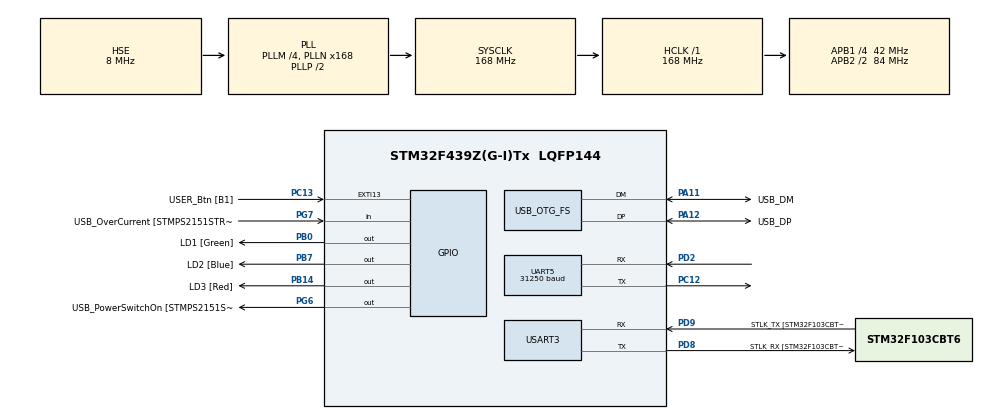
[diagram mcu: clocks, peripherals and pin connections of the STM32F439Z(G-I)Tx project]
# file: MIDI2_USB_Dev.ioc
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Dma.Request0=UART5_RX
Dma.UART5_RX.0.Direction=DMA_PERIPH_TO_MEMORY
Dma.UART5_RX.0.FIFOMode=DMA_FIFOMODE_DISABLE
Dma.UART5_RX.0.Instance=DMA1_Stream0
Dma.UART5_RX.0.MemDataAlignment=DMA_MDATAALIGN_BYTE
Dma.UART5_RX.0.MemInc=DMA_MINC_ENABLE
Dma.UART5_RX.0.Mode=DMA_CIRCULAR
Dma.UART5_RX.0.PeriphDataAlignment=DMA_PDATAALIGN_BYTE
Dma.UART5_RX.0.PeriphInc=DMA_PINC_DISABLE
Dma.UART5_RX.0.Priority=DMA_PRIORITY_LOW
Mcu.Family=STM32F4
Mcu.Name=STM32F439Z(G-I)Tx
Mcu.Package=LQFP144
NVIC.DMA1_Stream0_IRQn=true\:0\:0\:false\:false\:true\:false\:true\:true
NVIC.OTG_FS_IRQn=true\:0\:0\:false\:false\:true\:true\:true\:true
NVIC.PriorityGroup=NVIC_PRIORITYGROUP_4
NVIC.TIM1_TRG_COM_TIM11_IRQn=true\:1\:0\:true\:false\:true\:true\:true\:true
NVIC.TIM1_UP_TIM10_IRQn=true\:2\:0\:true\:false\:true\:true\:true\:true
NVIC.UART5_IRQn=true\:0\:0\:false\:false\:true\:true\:true\:true
PA1.GPIO_Label=RMII_REF_CLK [LAN8742A-CZ-TR_REFCLK0]
PA1.Signal=ETH_REF_CLK
PA10.GPIO_Label=USB_ID
PA10.Signal=USB_OTG_FS_ID
PA11.GPIO_Label=USB_DM
PA11.Mode=Device_Only
PA11.Signal=USB_OTG_FS_DM
PA12.GPIO_Label=USB_DP
PA12.Mode=Device_Only
PA12.Signal=USB_OTG_FS_DP
PA13.GPIO_Label=TMS
PA13.Mode=Serial_Wire
PA13.Signal=SYS_JTMS-SWDIO
PA14.GPIO_Label=TCK
PA14.Mode=Serial_Wire
PA14.Signal=SYS_JTCK-SWCLK
PA2.GPIO_Label=RMII_MDIO [LAN8742A-CZ-TR_MDIO]
PA2.Signal=ETH_MDIO
PA7.GPIO_Label=RMII_CRS_DV [LAN8742A-CZ-TR_CRS_DV]
PA7.Signal=ETH_CRS_DV
PA8.GPIO_Label=USB_SOF [TP1]
PA8.Signal=USB_OTG_FS_SOF
PA9.GPIO_Label=USB_VBUS
PA9.Signal=USB_OTG_FS_VBUS
PB0.GPIO_Label=LD1 [Green]
PB0.Signal=GPIO_Output
PB13.GPIO_Label=RMII_TXD1 [LAN8742A-CZ-TR_TXD1]
PB13.Signal=ETH_TXD1
PB14.GPIO_Label=LD3 [Red]
PB14.Signal=GPIO_Output
PB7.GPIO_Label=LD2 [Blue]
PB7.Signal=GPIO_Output
PC1.GPIO_Label=RMII_MDC [LAN8742A-CZ-TR_MDC]
PC1.Signal=ETH_MDC
PC12.Mode=Asynchronous
PC12.Signal=UART5_TX
PC13.GPIO_Label=USER_Btn [B1]
PC13.Signal=GPXTI13
PC14/OSC32_IN.Mode=LSE-External-Oscillator
PC14/OSC32_IN.Signal=RCC_OSC32_IN
PC15/OSC32_OUT.Mode=LSE-External-Oscillator
PC15/OSC32_OUT.Signal=RCC_OSC32_OUT
PC4.GPIO_Label=RMII_RXD0 [LAN8742A-CZ-TR_RXD0]
PC4.Signal=ETH_RXD0
PC5.GPIO_Label=RMII_RXD1 [LAN8742A-CZ-TR_RXD1]
PC5.Signal=ETH_RXD1
PD2.Mode=Asynchronous
PD2.Signal=UART5_RX
PD8.GPIO_Label=STLK_RX [STM32F103CBT6_PA3]
PD8.Mode=Asynchronous
PD8.Signal=USART3_TX
PD9.GPIO_Label=STLK_TX [STM32F103CBT6_PA2]
PD9.Mode=Asynchronous
PD9.Signal=USART3_RX
PG11.GPIO_Label=RMII_TX_EN [LAN8742A-CZ-TR_TXEN]
PG11.Signal=ETH_TX_EN
PG13.GPIO_Label=RMII_TXD0 [LAN8742A-CZ-TR_TXD0]
PG13.Signal=ETH_TXD0
PG6.GPIO_Label=USB_PowerSwitchOn [STMPS2151STR_EN]
PG6.Signal=GPIO_Output
PG7.GPIO_Label=USB_OverCurrent [STMPS2151STR_FAULT]
PG7.Signal=GPIO_Input
PH0/OSC_IN.GPIO_Label=MCO [STM32F103CBT6_PA8]
PH0/OSC_IN.Mode=HSE-External-Clock-Source
PH0/OSC_IN.Signal=RCC_OSC_IN
PH1/OSC_OUT.Mode=HSE-External-Clock-Source
PH1/OSC_OUT.Signal=RCC_OSC_OUT
ProjectManager.HeapSize=0x200
ProjectManager.StackSize=0x400
ProjectManager.TargetToolchain=CMake
RCC.48MHZClocksFreq_Value=48000000
RCC.AHBFreq_Value=168000000
RCC.APB1CLKDivider=RCC_HCLK_DIV4
RCC.APB1Freq_Value=42000000
RCC.APB1TimFreq_Value=84000000
RCC.APB2CLKDivider=RCC_HCLK_DIV2
RCC.APB2Freq_Value=84000000
RCC.APB2TimCLKDivider=2
RCC.APB2TimFreq_Value=168000000
RCC.CortexFreq_Value=168000000
RCC.HCLKFreq_Value=168000000
RCC.HSE_VALUE=8000000
RCC.HSI_VALUE=16000000
RCC.PLLM=4
RCC.PLLMUL=RCC_PLL_MUL9
RCC.PLLN=168
RCC.PLLQ=7
RCC.PRESCALERUSB=RCC_USBCLKSOURCE_PLL_DIV1_5
RCC.SYSCLKFreq_VALUE=168000000
RCC.SYSCLKSource=RCC_SYSCLKSOURCE_PLLCLK
RCC.SYSCLKSourceVirtual=RCC_SYSCLKSOURCE_PLLCLK
RCC.USBFreq_Value=48000000
RCC.VCOOutputFreq_Value=336000000
TIM10.AutoReloadPreload=TIM_AUTORELOAD_PRELOAD_ENABLE
TIM10.Period=15271
TIM10.Prescaler=10
TIM11.AutoReloadPreload=TIM_AUTORELOAD_PRELOAD_ENABLE
TIM11.Period=15271
TIM11.Prescaler=10
UART5.BaudRate=31250
UART5.Mode=MODE_TX_RX
UART5.VirtualMode=Asynchronous
USART3.VirtualMode=VM_ASYNC
USB_OTG_FS.VirtualMode=Device_Only
VP_TIM10_VS_ClockSourceINT.Mode=Enable_Timer
VP_TIM11_VS_ClockSourceINT.Mode=Enable_Timer
board=NUCLEO-F439ZI

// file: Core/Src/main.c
/* USER CODE BEGIN Header */
/**
  ******************************************************************************
  * @file           : main.c
  * @brief          : Main program body
  ******************************************************************************
  * @attention
  *
  * Copyright (c) 2025 STMicroelectronics.
  * All rights reserved.
  *
  * This software is licensed under terms that can be found in the LICENSE file
  * in the root directory of this software component.
  * If no LICENSE file comes with this software, it is provided AS-IS.
  *
  ******************************************************************************
  */
/* USER CODE END Header */
#include "main.h"

/* USER CODE BEGIN Includes */
#include <stdio.h>
#include "tusb.h"
#include "midi_proc.h"
#include "ump_device.h"
/* USER CODE END Includes */

TIM_HandleTypeDef htim10;
TIM_HandleTypeDef htim11;

UART_HandleTypeDef huart5;
UART_HandleTypeDef huart3;
DMA_HandleTypeDef hdma_uart5_rx;

PCD_HandleTypeDef hpcd_USB_OTG_FS;

void SystemClock_Config(void);
static void MX_GPIO_Init(void);
static void MX_DMA_Init(void);
static void MX_USB_OTG_FS_PCD_Init(void);
static void MX_UART5_Init(void);
static void MX_TIM10_Init(void);
static void MX_TIM11_Init(void);
static void MX_USART3_UART_Init(void);

/* USER CODE BEGIN 0 */
int _write(int file, char *ptr, int len)
{
  (void)file;
  HAL_UART_Transmit(&huart3,(uint8_t *)ptr,len,10);
  return len;
}

void tud_ump_rx_cb(uint8_t itf)
{
  // Read UMP data from the interface
  uint32_t ump[4] = {0,0,0,0};
  int size = tud_ump_n_available(itf);

  if(size > 0){
    HAL_GPIO_WritePin(LD3_GPIO_Port, LD3_Pin, GPIO_PIN_SET);
    tud_ump_read(itf, ump, size);
    ReceiveUmpData(ump, size);
    HAL_GPIO_WritePin(LD3_GPIO_Port, LD3_Pin, GPIO_PIN_RESET);
  }
}

// This function is called from HAL_TIM_PeriodElapsedCallback
void HAL_TIM_PeriodElapsedCallback(TIM_HandleTypeDef *htim)
{
  if (htim->Instance == TIM10){
    // Handle TIM10 interrupt
    // Conversion process for MIDI received from UART
    GPIO_PinState ledState = (ProcessMidiData()) ? GPIO_PIN_SET : GPIO_PIN_RESET;
    HAL_GPIO_WritePin(LD2_GPIO_Port, LD2_Pin, ledState);//5Pin MIDI Monitor LED
  }
  else if (htim->Instance == TIM11){
    // Handle TIM11 interrupt
    HAL_GPIO_TogglePin(LD1_GPIO_Port, LD1_Pin);
    // Send USB UMP data
    SendUmpData();
  }
}

/* USER CODE END 0 */

int main(void)
{

  /* USER CODE BEGIN 1 */
  setbuf(stdout, NULL);
  /* USER CODE END 1 */

  /* MCU Configuration--------------------------------------------------------*/

  /* Reset of all peripherals, Initializes the Flash interface and the Systick. */
  HAL_Init();

  /* Configure the system clock */
  SystemClock_Config();

  /* Initialize all configured peripherals */
  MX_GPIO_Init();
  MX_DMA_Init();
  MX_USB_OTG_FS_PCD_Init();
  MX_UART5_Init();
  MX_TIM10_Init();
  MX_TIM11_Init();
  MX_USART3_UART_Init();
  /* USER CODE BEGIN 2 */

  // Initialize the USB device
  tud_init(BOARD_TUD_RHPORT);

  // Initialize Uart for MIDI
  SetMidiUart(&huart5);
  HAL_UART_Receive_DMA(&huart5, UartMidiData, UART_MIDI_BUFFER_SIZE);

  // Start the timers
  HAL_TIM_Base_Start_IT(&htim10);
  HAL_TIM_Base_Start_IT(&htim11);

  /* USER CODE END 2 */

  /* Infinite loop */
  /* USER CODE BEGIN WHILE */
  while (1)
  {
    __disable_irq();  // Disable interrupts
    tud_task();       // Execute TinyUSB task
    __enable_irq();   // Re-enable interrupts

    /* USER CODE END WHILE */

  }
}

void SystemClock_Config(void)
{
  RCC_OscInitTypeDef RCC_OscInitStruct = {0};
  RCC_ClkInitTypeDef RCC_ClkInitStruct = {0};

  /** Configure the main internal regulator output voltage
  */
  __HAL_RCC_PWR_CLK_ENABLE();
  __HAL_PWR_VOLTAGESCALING_CONFIG(PWR_REGULATOR_VOLTAGE_SCALE1);

  /** Initializes the RCC Oscillators according to the specified parameters
  * in the RCC_OscInitTypeDef structure.
  */
  RCC_OscInitStruct.OscillatorType = RCC_OSCILLATORTYPE_HSE;
  RCC_OscInitStruct.HSEState = RCC_HSE_BYPASS;
  RCC_OscInitStruct.PLL.PLLState = RCC_PLL_ON;
  RCC_OscInitStruct.PLL.PLLSource = RCC_PLLSOURCE_HSE;
  RCC_OscInitStruct.PLL.PLLM = 4;
  RCC_OscInitStruct.PLL.PLLN = 168;
  RCC_OscInitStruct.PLL.PLLP = RCC_PLLP_DIV2;
  RCC_OscInitStruct.PLL.PLLQ = 7;
  if (HAL_RCC_OscConfig(&RCC_OscInitStruct) != HAL_OK)
  {
    Error_Handler();
  }

  /** Initializes the CPU, AHB and APB buses clocks
  */
  RCC_ClkInitStruct.ClockType = RCC_CLOCKTYPE_HCLK|RCC_CLOCKTYPE_SYSCLK
                              |RCC_CLOCKTYPE_PCLK1|RCC_CLOCKTYPE_PCLK2;
  RCC_ClkInitStruct.SYSCLKSource = RCC_SYSCLKSOURCE_PLLCLK;
  RCC_ClkInitStruct.AHBCLKDivider = RCC_SYSCLK_DIV1;
  RCC_ClkInitStruct.APB1CLKDivider = RCC_HCLK_DIV4;
  RCC_ClkInitStruct.APB2CLKDivider = RCC_HCLK_DIV2;

  if (HAL_RCC_ClockConfig(&RCC_ClkInitStruct, FLASH_LATENCY_5) != HAL_OK)
  {
    Error_Handler();
  }
}

static void MX_TIM10_Init(void)
{

  htim10.Instance = TIM10;
  htim10.Init.Prescaler = 10;
  htim10.Init.CounterMode = TIM_COUNTERMODE_UP;
  htim10.Init.Period = 15271;
  htim10.Init.ClockDivision = TIM_CLOCKDIVISION_DIV1;
  htim10.Init.AutoReloadPreload = TIM_AUTORELOAD_PRELOAD_ENABLE;
  if (HAL_TIM_Base_Init(&htim10) != HAL_OK)
  {
    Error_Handler();
  }

}

static void MX_TIM11_Init(void)
{

  htim11.Instance = TIM11;
  htim11.Init.Prescaler = 10;
  htim11.Init.CounterMode = TIM_COUNTERMODE_UP;
  htim11.Init.Period = 15271;
  htim11.Init.ClockDivision = TIM_CLOCKDIVISION_DIV1;
  htim11.Init.AutoReloadPreload = TIM_AUTORELOAD_PRELOAD_ENABLE;
  if (HAL_TIM_Base_Init(&htim11) != HAL_OK)
  {
    Error_Handler();
  }

}

static void MX_UART5_Init(void)
{

  huart5.Instance = UART5;
  huart5.Init.BaudRate = 31250;
  huart5.Init.WordLength = UART_WORDLENGTH_8B;
  huart5.Init.StopBits = UART_STOPBITS_1;
  huart5.Init.Parity = UART_PARITY_NONE;
  huart5.Init.Mode = UART_MODE_TX_RX;
  huart5.Init.HwFlowCtl = UART_HWCONTROL_NONE;
  huart5.Init.OverSampling = UART_OVERSAMPLING_16;
  if (HAL_UART_Init(&huart5) != HAL_OK)
  {
    Error_Handler();
  }

}

static void MX_USART3_UART_Init(void)
{

  huart3.Instance = USART3;
  huart3.Init.BaudRate = 115200;
  huart3.Init.WordLength = UART_WORDLENGTH_8B;
  huart3.Init.StopBits = UART_STOPBITS_1;
  huart3.Init.Parity = UART_PARITY_NONE;
  huart3.Init.Mode = UART_MODE_TX_RX;
  huart3.Init.HwFlowCtl = UART_HWCONTROL_NONE;
  huart3.Init.OverSampling = UART_OVERSAMPLING_16;
  if (HAL_UART_Init(&huart3) != HAL_OK)
  {
    Error_Handler();
  }

}

static void MX_USB_OTG_FS_PCD_Init(void)
{

  hpcd_USB_OTG_FS.Instance = USB_OTG_FS;
  hpcd_USB_OTG_FS.Init.dev_endpoints = 4;
  hpcd_USB_OTG_FS.Init.speed = PCD_SPEED_FULL;
  hpcd_USB_OTG_FS.Init.dma_enable = DISABLE;
  hpcd_USB_OTG_FS.Init.phy_itface = PCD_PHY_EMBEDDED;
  hpcd_USB_OTG_FS.Init.Sof_enable = DISABLE;
  hpcd_USB_OTG_FS.Init.low_power_enable = DISABLE;
  hpcd_USB_OTG_FS.Init.lpm_enable = DISABLE;
  hpcd_USB_OTG_FS.Init.vbus_sensing_enable = DISABLE;
  hpcd_USB_OTG_FS.Init.use_dedicated_ep1 = DISABLE;
  if (HAL_PCD_Init(&hpcd_USB_OTG_FS) != HAL_OK)
  {
    Error_Handler();
  }

}

static void MX_DMA_Init(void)
{

  /* DMA controller clock enable */
  __HAL_RCC_DMA1_CLK_ENABLE();

  /* DMA interrupt init */
  /* DMA1_Stream0_IRQn interrupt configuration */
  HAL_NVIC_SetPriority(DMA1_Stream0_IRQn, 0, 0);
  HAL_NVIC_EnableIRQ(DMA1_Stream0_IRQn);

}

static void MX_GPIO_Init(void)
{
  GPIO_InitTypeDef GPIO_InitStruct = {0};

  /* GPIO Ports Clock Enable */
  __HAL_RCC_GPIOC_CLK_ENABLE();
  __HAL_RCC_GPIOH_CLK_ENABLE();
  __HAL_RCC_GPIOA_CLK_ENABLE();
  __HAL_RCC_GPIOB_CLK_ENABLE();
  __HAL_RCC_GPIOD_CLK_ENABLE();
  __HAL_RCC_GPIOG_CLK_ENABLE();

  /*Configure GPIO pin Output Level */
  HAL_GPIO_WritePin(GPIOB, LD1_Pin|LD3_Pin|LD2_Pin, GPIO_PIN_RESET);

  /*Configure GPIO pin Output Level */
  HAL_GPIO_WritePin(USB_PowerSwitchOn_GPIO_Port, USB_PowerSwitchOn_Pin, GPIO_PIN_RESET);

  /*Configure GPIO pin : USER_Btn_Pin */
  GPIO_InitStruct.Pin = USER_Btn_Pin;
  GPIO_InitStruct.Mode = GPIO_MODE_IT_RISING;
  GPIO_InitStruct.Pull = GPIO_NOPULL;
  HAL_GPIO_Init(USER_Btn_GPIO_Port, &GPIO_InitStruct);

  /*Configure GPIO pins : RMII_MDC_Pin RMII_RXD0_Pin RMII_RXD1_Pin */
  GPIO_InitStruct.Pin = RMII_MDC_Pin|RMII_RXD0_Pin|RMII_RXD1_Pin;
  GPIO_InitStruct.Mode = GPIO_MODE_AF_PP;
  GPIO_InitStruct.Pull = GPIO_NOPULL;
  GPIO_InitStruct.Speed = GPIO_SPEED_FREQ_VERY_HIGH;
  GPIO_InitStruct.Alternate = GPIO_AF11_ETH;
  HAL_GPIO_Init(GPIOC, &GPIO_InitStruct);

  /*Configure GPIO pins : RMII_REF_CLK_Pin RMII_MDIO_Pin RMII_CRS_DV_Pin */
  GPIO_InitStruct.Pin = RMII_REF_CLK_Pin|RMII_MDIO_Pin|RMII_CRS_DV_Pin;
  GPIO_InitStruct.Mode = GPIO_MODE_AF_PP;
  GPIO_InitStruct.Pull = GPIO_NOPULL;
  GPIO_InitStruct.Speed = GPIO_SPEED_FREQ_VERY_HIGH;
  GPIO_InitStruct.Alternate = GPIO_AF11_ETH;
  HAL_GPIO_Init(GPIOA, &GPIO_InitStruct);

  /*Configure GPIO pins : LD1_Pin LD3_Pin LD2_Pin */
  GPIO_InitStruct.Pin = LD1_Pin|LD3_Pin|LD2_Pin;
  GPIO_InitStruct.Mode = GPIO_MODE_OUTPUT_PP;
  GPIO_InitStruct.Pull = GPIO_NOPULL;
  GPIO_InitStruct.Speed = GPIO_SPEED_FREQ_LOW;
  HAL_GPIO_Init(GPIOB, &GPIO_InitStruct);

  /*Configure GPIO pin : RMII_TXD1_Pin */
  GPIO_InitStruct.Pin = RMII_TXD1_Pin;
  GPIO_InitStruct.Mode = GPIO_MODE_AF_PP;
  GPIO_InitStruct.Pull = GPIO_NOPULL;
  GPIO_InitStruct.Speed = GPIO_SPEED_FREQ_VERY_HIGH;
  GPIO_InitStruct.Alternate = GPIO_AF11_ETH;
  HAL_GPIO_Init(RMII_TXD1_GPIO_Port, &GPIO_InitStruct);

  /*Configure GPIO pin : USB_PowerSwitchOn_Pin */
  GPIO_InitStruct.Pin = USB_PowerSwitchOn_Pin;
  GPIO_InitStruct.Mode = GPIO_MODE_OUTPUT_PP;
  GPIO_InitStruct.Pull = GPIO_NOPULL;
  GPIO_InitStruct.Speed = GPIO_SPEED_FREQ_LOW;
  HAL_GPIO_Init(USB_PowerSwitchOn_GPIO_Port, &GPIO_InitStruct);

  /*Configure GPIO pin : USB_OverCurrent_Pin */
  GPIO_InitStruct.Pin = USB_OverCurrent_Pin;
  GPIO_InitStruct.Mode = GPIO_MODE_INPUT;
  GPIO_InitStruct.Pull = GPIO_NOPULL;
  HAL_GPIO_Init(USB_OverCurrent_GPIO_Port, &GPIO_InitStruct);

  /*Configure GPIO pins : RMII_TX_EN_Pin RMII_TXD0_Pin */
  GPIO_InitStruct.Pin = RMII_TX_EN_Pin|RMII_TXD0_Pin;
  GPIO_InitStruct.Mode = GPIO_MODE_AF_PP;
  GPIO_InitStruct.Pull = GPIO_NOPULL;
  GPIO_InitStruct.Speed = GPIO_SPEED_FREQ_VERY_HIGH;
  GPIO_InitStruct.Alternate = GPIO_AF11_ETH;
  HAL_GPIO_Init(GPIOG, &GPIO_InitStruct);

}

void Error_Handler(void)
{
  __disable_irq();
  while (1)
  {
  }
}
